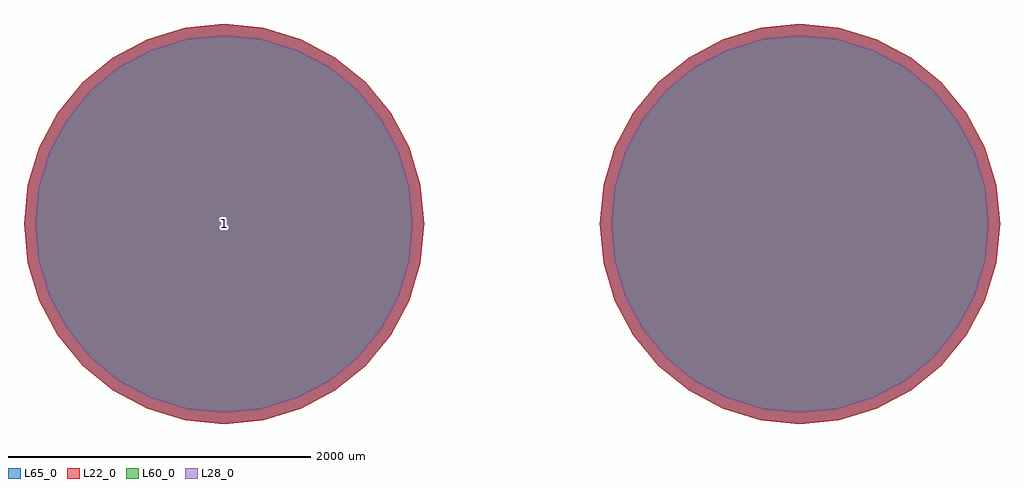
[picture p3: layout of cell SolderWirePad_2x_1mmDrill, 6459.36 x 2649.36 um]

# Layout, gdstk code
import gdstk
lib = gdstk.Library(unit=1e-6, precision=1e-09)
def P(c, l, *ps):  # polygons
    for p in ps: c.add(gdstk.Polygon(p, *l))
L22_0 = (22, 0)
L28_0 = (28, 0)
L60_0 = (60, 0)
L65_0 = (65, 0)

solderwirepad_2x_1mmdril = lib.new_cell('SolderWirePad_2x_1mmDrill')
P(solderwirepad_2x_1mmdril, L22_0, [(3229.68,0),(3204.227,258.432),(3128.845,506.933),(3006.431,735.953),(2841.69,936.69),(2640.953,1101.431),(2411.933,1223.845),(2163.432,1299.227),(1905,1324.68),(1646.568,1299.227),(1398.067,1223.845),(1169.047,1101.431),(968.31,936.69),(803.569,735.953),(681.155,506.933),(605.773,258.432),(580.32,0),(605.773,-258.432),(681.155,-506.933),(803.569,-735.953),(968.31,-936.69),(1169.047,-1101.431),(1398.067,-1223.845),(1646.568,-1299.227),(1905,-1324.68),(2163.432,-1299.227),(2411.933,-1223.845),(2640.953,-1101.431),(2841.69,-936.69),(3006.431,-735.953),(3128.845,-506.933),(3204.227,-258.432)],
  [(-580.32,0),(-605.773,258.432),(-681.155,506.933),(-803.569,735.953),(-968.31,936.69),(-1169.047,1101.431),(-1398.067,1223.845),(-1646.568,1299.227),(-1905,1324.68),(-2163.432,1299.227),(-2411.933,1223.845),(-2640.953,1101.431),(-2841.69,936.69),(-3006.431,735.953),(-3128.845,506.933),(-3204.227,258.432),(-3229.68,0),(-3204.227,-258.432),(-3128.845,-506.933),(-3006.431,-735.953),(-2841.69,-936.69),(-2640.953,-1101.431),(-2411.933,-1223.845),(-2163.432,-1299.227),(-1905,-1324.68),(-1646.568,-1299.227),(-1398.067,-1223.845),(-1169.047,-1101.431),(-968.31,-936.69),(-803.569,-735.953),(-681.155,-506.933),(-605.773,-258.432)])
P(solderwirepad_2x_1mmdril, L28_0, [(3154.68,0),(3130.668,243.8),(3059.554,478.232),(2944.071,694.285),(2788.657,883.657),(2599.285,1039.071),(2383.232,1154.554),(2148.8,1225.668),(1905,1249.68),(1661.2,1225.668),(1426.768,1154.554),(1210.715,1039.071),(1021.343,883.657),(865.929,694.285),(750.446,478.232),(679.332,243.8),(655.32,0),(679.332,-243.8),(750.446,-478.232),(865.929,-694.285),(1021.343,-883.657),(1210.715,-1039.071),(1426.768,-1154.554),(1661.2,-1225.668),(1905,-1249.68),(2148.8,-1225.668),(2383.232,-1154.554),(2599.285,-1039.071),(2788.657,-883.657),(2944.071,-694.285),(3059.554,-478.232),(3130.668,-243.8)],
  [(-655.32,0),(-679.332,243.8),(-750.446,478.232),(-865.929,694.285),(-1021.343,883.657),(-1210.715,1039.071),(-1426.768,1154.554),(-1661.2,1225.668),(-1905,1249.68),(-2148.8,1225.668),(-2383.232,1154.554),(-2599.285,1039.071),(-2788.657,883.657),(-2944.071,694.285),(-3059.554,478.232),(-3130.668,243.8),(-3154.68,0),(-3130.668,-243.8),(-3059.554,-478.232),(-2944.071,-694.285),(-2788.657,-883.657),(-2599.285,-1039.071),(-2383.232,-1154.554),(-2148.8,-1225.668),(-1905,-1249.68),(-1661.2,-1225.668),(-1426.768,-1154.554),(-1210.715,-1039.071),(-1021.343,-883.657),(-865.929,-694.285),(-750.446,-478.232),(-679.332,-243.8)])
P(solderwirepad_2x_1mmdril, L60_0, [(3154.68,0),(3130.668,243.8),(3059.554,478.232),(2944.071,694.285),(2788.657,883.657),(2599.285,1039.071),(2383.232,1154.554),(2148.8,1225.668),(1905,1249.68),(1661.2,1225.668),(1426.768,1154.554),(1210.715,1039.071),(1021.343,883.657),(865.929,694.285),(750.446,478.232),(679.332,243.8),(655.32,0),(679.332,-243.8),(750.446,-478.232),(865.929,-694.285),(1021.343,-883.657),(1210.715,-1039.071),(1426.768,-1154.554),(1661.2,-1225.668),(1905,-1249.68),(2148.8,-1225.668),(2383.232,-1154.554),(2599.285,-1039.071),(2788.657,-883.657),(2944.071,-694.285),(3059.554,-478.232),(3130.668,-243.8)],
  [(-655.32,0),(-679.332,243.8),(-750.446,478.232),(-865.929,694.285),(-1021.343,883.657),(-1210.715,1039.071),(-1426.768,1154.554),(-1661.2,1225.668),(-1905,1249.68),(-2148.8,1225.668),(-2383.232,1154.554),(-2599.285,1039.071),(-2788.657,883.657),(-2944.071,694.285),(-3059.554,478.232),(-3130.668,243.8),(-3154.68,0),(-3130.668,-243.8),(-3059.554,-478.232),(-2944.071,-694.285),(-2788.657,-883.657),(-2599.285,-1039.071),(-2383.232,-1154.554),(-2148.8,-1225.668),(-1905,-1249.68),(-1661.2,-1225.668),(-1426.768,-1154.554),(-1210.715,-1039.071),(-1021.343,-883.657),(-865.929,-694.285),(-750.446,-478.232),(-679.332,-243.8)])
P(solderwirepad_2x_1mmdril, L65_0, [(3229.68,0),(3204.227,258.432),(3128.845,506.933),(3006.431,735.953),(2841.69,936.69),(2640.953,1101.431),(2411.933,1223.845),(2163.432,1299.227),(1905,1324.68),(1646.568,1299.227),(1398.067,1223.845),(1169.047,1101.431),(968.31,936.69),(803.569,735.953),(681.155,506.933),(605.773,258.432),(580.32,0),(605.773,-258.432),(681.155,-506.933),(803.569,-735.953),(968.31,-936.69),(1169.047,-1101.431),(1398.067,-1223.845),(1646.568,-1299.227),(1905,-1324.68),(2163.432,-1299.227),(2411.933,-1223.845),(2640.953,-1101.431),(2841.69,-936.69),(3006.431,-735.953),(3128.845,-506.933),(3204.227,-258.432)],
  [(-580.32,0),(-605.773,258.432),(-681.155,506.933),(-803.569,735.953),(-968.31,936.69),(-1169.047,1101.431),(-1398.067,1223.845),(-1646.568,1299.227),(-1905,1324.68),(-2163.432,1299.227),(-2411.933,1223.845),(-2640.953,1101.431),(-2841.69,936.69),(-3006.431,735.953),(-3128.845,506.933),(-3204.227,258.432),(-3229.68,0),(-3204.227,-258.432),(-3128.845,-506.933),(-3006.431,-735.953),(-2841.69,-936.69),(-2640.953,-1101.431),(-2411.933,-1223.845),(-2163.432,-1299.227),(-1905,-1324.68),(-1646.568,-1299.227),(-1398.067,-1223.845),(-1169.047,-1101.431),(-968.31,-936.69),(-803.569,-735.953),(-681.155,-506.933),(-605.773,-258.432)])
solderwirepad_2x_1mmdril.add(gdstk.Label('1', (-1905,0), layer=28, texttype=0))
solderwirepad_2x_1mmdril.add(gdstk.Label('type', (635,-3810), layer=9, texttype=0))
solderwirepad_2x_1mmdril.add(gdstk.Label('devicename', (0,3810), layer=9, texttype=0))

lib.write_gds('SolderWirePad_2x_1mmDrill.gds')
